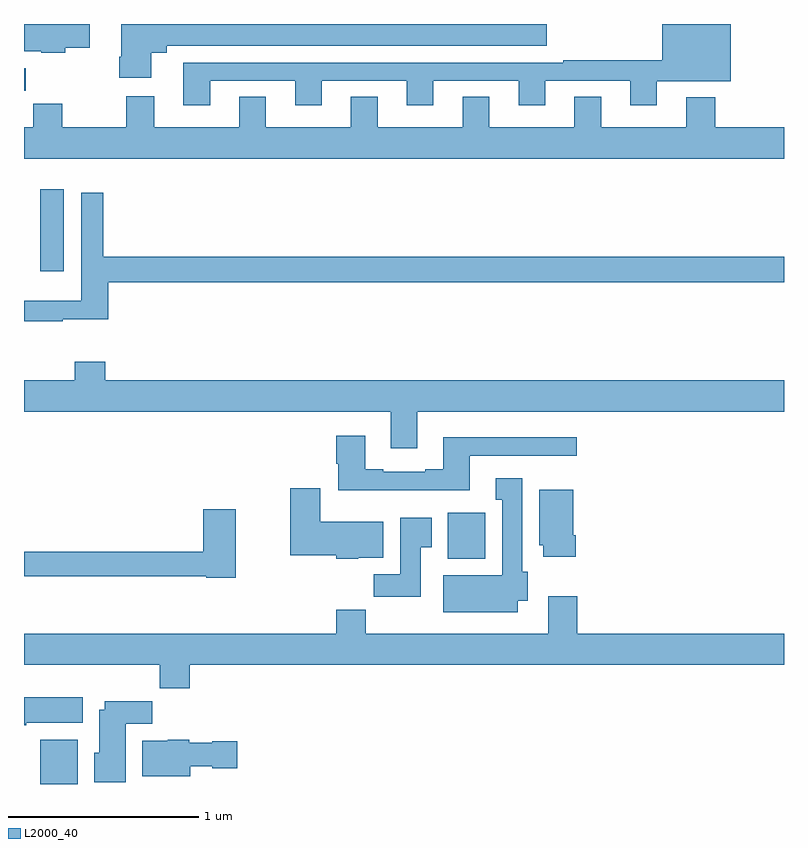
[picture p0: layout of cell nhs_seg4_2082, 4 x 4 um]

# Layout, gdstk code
import gdstk
lib = gdstk.Library(unit=1e-6, precision=1e-09)
def R(c, l, rs):  # rectangles x0, y0, x1, y1
    for r in rs: c.add(gdstk.rectangle(r[:2], r[2:], *l))
def P(c, l, *ps):  # polygons
    for p in ps: c.add(gdstk.Polygon(p, *l))
L2000_40 = (2000, 40)

nhs_seg4_2082 = lib.new_cell('nhs_seg4_2082')
R(nhs_seg4_2082, L2000_40, [(219.086,754.9,219.283,755.134), (221.231,756.086,221.428,756.328), (219.086,757.599,219.208,758.029), (219,758.55,219.008,758.668)])
P(nhs_seg4_2082, L2000_40, [(219.216,758.776),(219.346,758.776),(219.346,758.9),(219,758.9),(219,758.756),(219.09,758.756),(219.09,758.75),(219.216,758.75)],
  [(219.67,758.75),(219.751,758.75),(219.751,758.786),(221.752,758.786),(221.752,758.9),(219.512,758.9),(219.512,758.728),(219.5,758.728),(219.5,758.616),(219.67,758.616)],
  [(219.979,758.601),(220.427,758.601),(220.427,758.472),(220.567,758.472),(220.567,758.601),(221.015,758.601),(221.015,758.472),(221.155,758.472),(221.155,758.601),(221.603,758.601),(221.603,758.472),(221.743,758.472),(221.743,758.601),(222.191,758.601),(222.191,758.472),(222.331,758.472),(222.331,758.6),(222.721,758.6),(222.721,758.9),(222.359,758.9),(222.359,758.71),(221.839,758.71),(221.839,758.697),(219.839,758.697),(219.839,758.472),(219.979,758.472)],
  [(222.485,758.515),(222.485,758.356),(222.037,758.356),(222.037,758.516),(221.897,758.516),(221.897,758.356),(221.449,758.356),(221.449,758.516),(221.309,758.516),(221.309,758.356),(220.861,758.356),(220.861,758.516),(220.721,758.516),(220.721,758.356),(220.273,758.356),(220.273,758.516),(220.133,758.516),(220.133,758.356),(219.685,758.356),(219.685,758.521),(219.538,758.521),(219.538,758.356),(219.201,758.356),(219.201,758.48),(219.049,758.48),(219.049,758.356),(219,758.356),(219,758.192),(223,758.192),(223,758.356),(222.638,758.356),(222.638,758.515)],
  [(219.203,757.345),(219.443,757.345),(219.443,757.54),(223,757.54),(223,757.676),(219.416,757.676),(219.416,758.011),(219.3,758.011),(219.3,757.444),(219.09,757.444),(219.09,757.443),(219,757.443),(219,757.335),(219.203,757.335)],
  [(221.071,756.86),(223,756.86),(223,757.024),(219.428,757.024),(219.428,757.123),(219.268,757.123),(219.268,757.024),(219,757.024),(219,756.86),(220.931,756.86),(220.931,756.666),(221.071,756.666)],
  [(221.347,756.627),(221.908,756.627),(221.908,756.724),(221.207,756.724),(221.207,756.556),(221.111,756.556),(221.111,756.543),(220.891,756.543),(220.891,756.556),(220.795,756.556),(220.795,756.733),(220.643,756.733),(220.643,756.585),(220.655,756.585),(220.655,756.446),(221.347,756.446)],
  [(221.599,755.864),(221.65,755.864),(221.65,756.018),(221.623,756.018),(221.623,756.508),(221.483,756.508),(221.483,756.395),(221.516,756.395),(221.516,755.998),(221.207,755.998),(221.207,755.804),(221.599,755.804)],
  [(220.758,756.092),(220.891,756.092),(220.891,756.28),(220.558,756.28),(220.558,756.457),(220.4,756.457),(220.4,756.104),(220.644,756.104),(220.644,756.086),(220.758,756.086)],
  [(221.903,756.208),(221.89,756.208),(221.89,756.448),(221.711,756.448),(221.711,756.156),(221.732,756.156),(221.732,756.096),(221.903,756.096)],
  [(220.114,756.346),(219.944,756.346),(219.944,756.122),(219,756.122),(219,755.994),(219.96,755.994),(219.96,755.986),(220.114,755.986)],
  [(221.089,756.145),(221.146,756.145),(221.146,756.301),(220.979,756.301),(220.979,756.004),(220.84,756.004),(220.84,755.886),(221.089,755.886)],
  [(219.872,755.528),(223,755.528),(223,755.692),(221.912,755.692),(221.912,755.887),(221.759,755.887),(221.759,755.692),(220.799,755.692),(220.799,755.816),(220.643,755.816),(220.643,755.692),(219,755.692),(219,755.528),(219.715,755.528),(219.715,755.404),(219.872,755.404)],
  [(219.012,755.222),(219.31,755.222),(219.31,755.356),(219,755.356),(219,755.209),(219.012,755.209)],
  [(219.535,755.216),(219.674,755.216),(219.674,755.335),(219.425,755.335),(219.425,755.29),(219.395,755.29),(219.395,755.064),(219.371,755.064),(219.371,754.91),(219.535,754.91)],
  [(219.874,754.994),(219.99,754.994),(219.99,754.982),(220.123,754.982),(220.123,755.124),(219.99,755.124),(219.99,755.116),(219.87,755.116),(219.87,755.134),(219.756,755.134),(219.756,755.128),(219.623,755.128),(219.623,754.94),(219.874,754.94)])

lib.write_gds('nhs_seg4_2082.gds')
